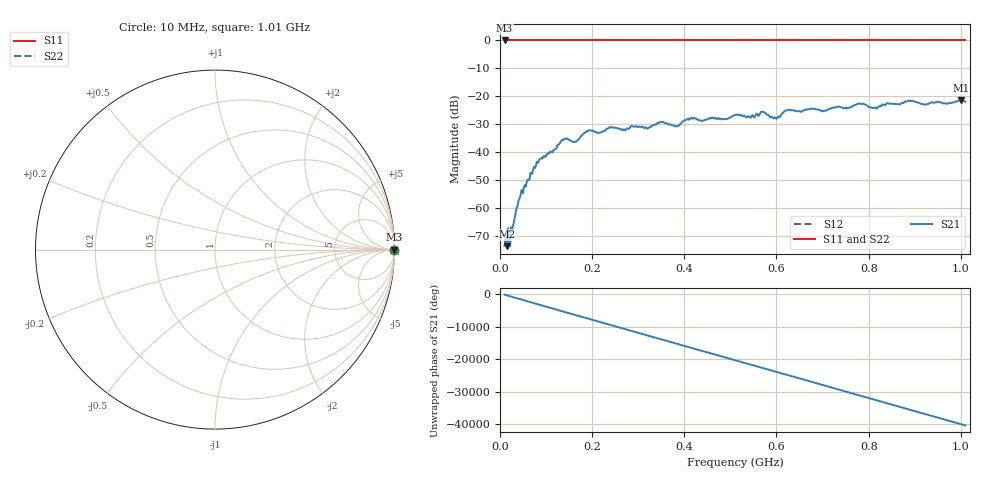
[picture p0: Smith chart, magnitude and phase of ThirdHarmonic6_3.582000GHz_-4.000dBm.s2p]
! 8/17/2025 11:53:47 AM
! C:\ANRITSUVNA\TEMP\TEMP.S2P
! CHANNEL.1
! TR.MEASUREMENT
! RAW.DATA
! RF.CORRECTION.OFF
! AVERAGING.OFF
! IF.BANDWIDTH: 5KHZ
! SWEEPTYPE:  FREQ.SWEEP(Linear)
! Reference Plane Port Info
! PORT:  PORT1  PORT2
! DISTANCE:  0  m  0  m
! TIME:  0  s  0  s
! PHASE.OFFSET:  0  deg.  0  deg.
! LOSS:  0  dB  0  dB
! REF.LOSS:  0  dB  0  dB
! REF.FREQ:  0  Hz  0  Hz
! Power Info
! POWER:  -20  dBm  -20  dBm
! EFF.POWER:  -20  dBm  -20  dBm
! SOURCE.ATTEN:  0  dB  0  dB
! TEST.ATTEN:  0  dB  0  dB
# GHZ S RI R 50.0
! FREQ.GHZ  S11RE  S11IM  S21RE  S21IM  S12RE  S12IM  S22RE  S22IM
!; PortSelection: Port_12
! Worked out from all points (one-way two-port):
!   501 points, 10 MHz to 1.01 GHz, reference 50 ohm
!   highest |S21| = -21.24 dB at 1 GHz (marker M1); lowest = -73.5 dB at 16 MHz (marker M2)
!   lowest |S11| = 0.0 dB at 10 MHz (marker M3)
!   |S11| at or under -10 dB: nowhere
!   |S22| runs from 0.0 to 0.0 dB; largest |S21 - S12| = 1.1
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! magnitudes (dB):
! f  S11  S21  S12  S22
! 10 MHz  0.0  -73.4  0.0  0.0
! 16 MHz  0.0  -73.5  0.0  0.0
! 24 MHz  0.0  -66.7  0.0  0.0
! 44 MHz  0.0  -55.7  0.0  0.0
! 84 MHz  0.0  -43.2  0.0  0.0
! 136 MHz  0.0  -35.7  0.0  0.0
! 162 MHz  0.0  -36.3  0.0  0.0
! 178 MHz  0.0  -33.8  0.0  0.0
! 192 MHz  0.0  -32.2  0.0  0.0
! 322 MHz  0.0  -31.3  0.0  0.0
! 344 MHz  0.0  -29.6  0.0  0.0
! 384 MHz  0.0  -30.6  0.0  0.0
! 416 MHz  0.0  -28.0  0.0  0.0
! 510 MHz  0.0  -26.7  0.0  0.0
! 570 MHz  0.0  -25.4  0.0  0.0
! 598 MHz  0.0  -27.6  0.0  0.0
! 624 MHz  0.0  -25.0  0.0  0.0
! 678 MHz  0.0  -24.4  0.0  0.0
! 814 MHz  0.0  -23.9  0.0  0.0
! 844 MHz  0.0  -22.6  0.0  0.0
! 1 GHz  0.0  -21.2  0.0  0.0
! 1.01 GHz  0.0  -21.9  0.0  0.0
